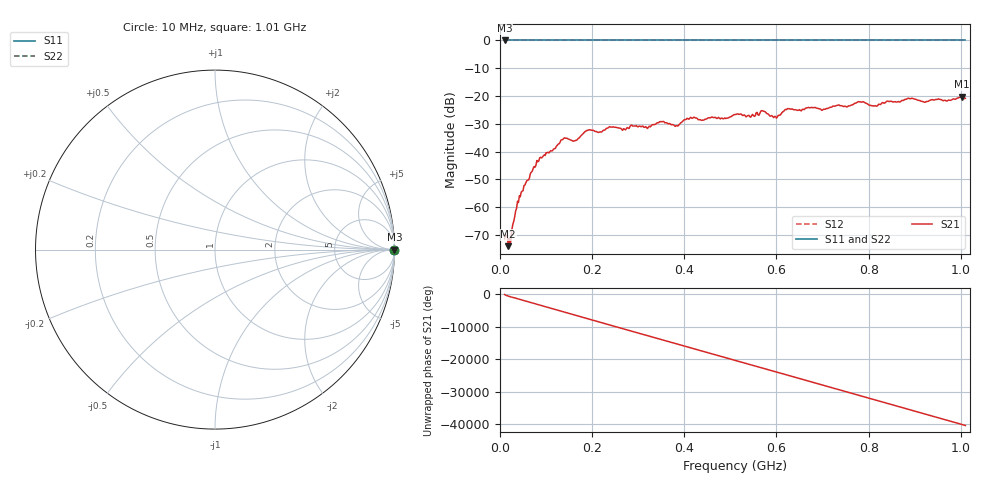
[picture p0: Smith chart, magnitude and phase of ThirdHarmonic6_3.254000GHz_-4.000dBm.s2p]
! 8/17/2025 10:01:18 AM
! C:\ANRITSUVNA\TEMP\TEMP.S2P
! CHANNEL.1
! TR.MEASUREMENT
! RAW.DATA
! RF.CORRECTION.OFF
! AVERAGING.OFF
! IF.BANDWIDTH: 5KHZ
! SWEEPTYPE:  FREQ.SWEEP(Linear)
! Reference Plane Port Info
! PORT:  PORT1  PORT2
! DISTANCE:  0  m  0  m
! TIME:  0  s  0  s
! PHASE.OFFSET:  0  deg.  0  deg.
! LOSS:  0  dB  0  dB
! REF.LOSS:  0  dB  0  dB
! REF.FREQ:  0  Hz  0  Hz
! Power Info
! POWER:  -20  dBm  -20  dBm
! EFF.POWER:  -20  dBm  -20  dBm
! SOURCE.ATTEN:  0  dB  0  dB
! TEST.ATTEN:  0  dB  0  dB
# GHZ S RI R 50.0
! FREQ.GHZ  S11RE  S11IM  S21RE  S21IM  S12RE  S12IM  S22RE  S22IM
!; PortSelection: Port_12
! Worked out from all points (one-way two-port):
!   501 points, 10 MHz to 1.01 GHz, reference 50 ohm
!   highest |S21| = -20.24 dB at 1.002 GHz (marker M1); lowest = -74.1 dB at 18 MHz (marker M2)
!   lowest |S11| = 0.0 dB at 10 MHz (marker M3)
!   |S11| at or under -10 dB: nowhere
!   |S22| runs from 0.0 to 0.0 dB; largest |S21 - S12| = 1.1
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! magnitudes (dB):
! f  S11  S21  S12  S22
! 10 MHz  0.0  -71.4  0.0  0.0
! 18 MHz  0.0  -74.1  0.0  0.0
! 22 MHz  0.0  -73.6  0.0  0.0
! 42 MHz  0.0  -56.0  0.0  0.0
! 84 MHz  0.0  -43.5  0.0  0.0
! 136 MHz  0.0  -35.7  0.0  0.0
! 162 MHz  0.0  -36.1  0.0  0.0
! 178 MHz  0.0  -34.0  0.0  0.0
! 192 MHz  0.0  -32.3  0.0  0.0
! 322 MHz  0.0  -31.3  0.0  0.0
! 344 MHz  0.0  -29.7  0.0  0.0
! 384 MHz  0.0  -30.7  0.0  0.0
! 410 MHz  0.0  -28.4  0.0  0.0
! 510 MHz  0.0  -26.6  0.0  0.0
! 570 MHz  0.0  -25.4  0.0  0.0
! 598 MHz  0.0  -27.4  0.0  0.0
! 622 MHz  0.0  -24.9  0.0  0.0
! 678 MHz  0.0  -24.2  0.0  0.0
! 814 MHz  0.0  -23.5  0.0  0.0
! 844 MHz  0.0  -22.0  0.0  0.0
! 1.002 GHz  0.0  -20.2  0.0  0.0
! 1.01 GHz  0.0  -20.8  0.0  0.0
